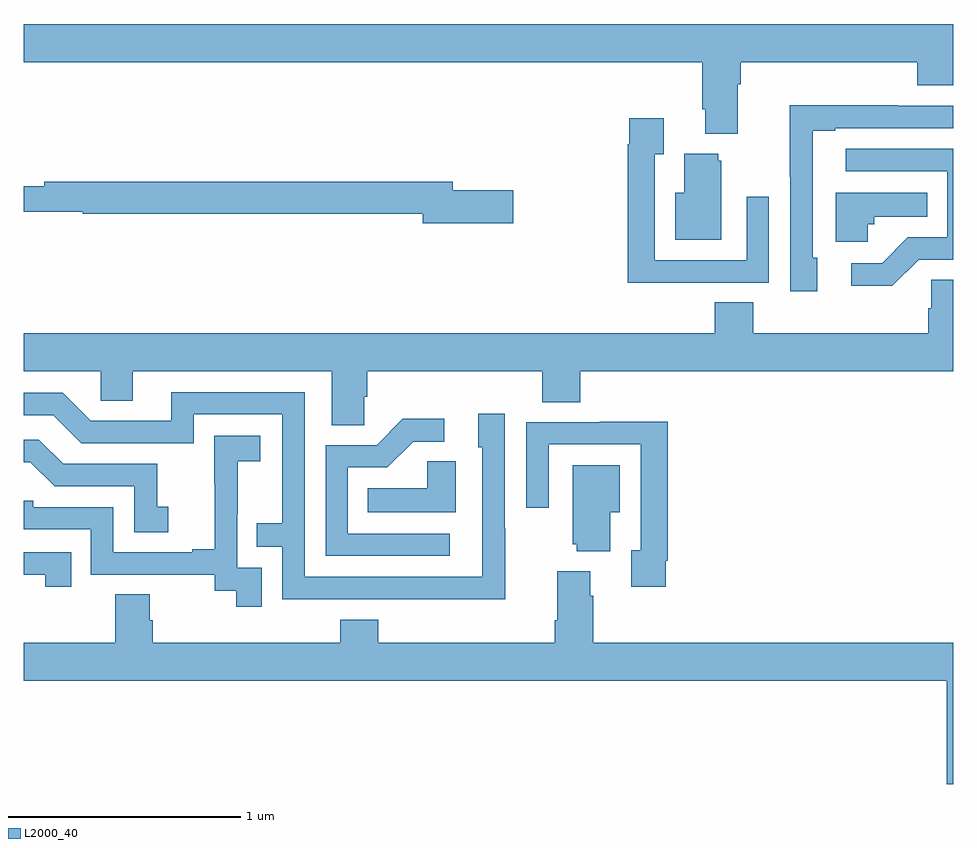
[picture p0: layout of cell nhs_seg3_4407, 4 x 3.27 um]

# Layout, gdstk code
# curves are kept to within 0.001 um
import gdstk
lib = gdstk.Library(unit=1e-6, precision=1e-09)
def P(c, l, *ps):  # polygons
    for p in ps: c.add(gdstk.Polygon(p, *l))
L2000_40 = (2000, 40)

nhs_seg3_4407 = lib.new_cell('nhs_seg3_4407')
P(nhs_seg3_4407, L2000_40, [(348.073,727.46),(348.086,727.46),(348.086,727.556),(348.845,727.556),(348.845,727.457),(349,727.457),(349,727.72),(345,727.72),(345,727.556),(347.921,727.556),(347.921,727.354),(347.933,727.354),(347.933,727.247),(348.073,727.247)],
  [(348.415,726.714),(348.396,726.714),(348.396,727.26),(348.493,727.26),(348.493,727.272),(349,727.272),(349,727.368),(348.761,727.368),(348.761,727.37),(348.298,727.37),(348.298,727.063),(348.3,727.063),(348.3,726.57),(348.415,726.57)],
  [(347.891,726.606),(348.207,726.606),(348.207,726.976),(348.111,726.976),(348.111,726.702),(347.715,726.702),(347.715,727.159),(347.755,727.159),(347.755,727.315),(347.607,727.315),(347.607,727.202),(347.599,727.202),(347.599,726.605),(347.891,726.605)],
  [(348.852,726.705),(349,726.705),(349,727.182),(348.537,727.182),(348.537,727.086),(348.975,727.086),(348.975,726.801),(348.806,726.801),(348.695,726.69),(348.561,726.69),(348.561,726.593),(348.739,726.593)],
  [(348.001,727.131),(347.99,727.131),(347.99,727.162),(347.843,727.162),(347.843,726.994),(347.804,726.994),(347.804,726.791),(348.001,726.791)],
  [(347.107,727.004),(346.846,727.004),(346.846,727.04),(345.088,727.04),(345.088,727.021),(345,727.021),(345,726.912),(345.254,726.912),(345.254,726.904),(346.718,726.904),(346.718,726.862),(347.107,726.862)],
  [(348.633,726.858),(348.66,726.858),(348.66,726.89),(348.89,726.89),(348.89,726.994),(348.494,726.994),(348.494,726.782),(348.633,726.782)],
  [(345,726.224),(345.33,726.224),(345.33,726.097),(345.469,726.097),(345.469,726.224),(346.325,726.224),(346.325,725.992),(346.464,725.992),(346.464,726.115),(346.478,726.115),(346.478,726.224),(347.231,726.224),(347.231,726.091),(347.396,726.091),(347.396,726.224),(349,726.224),(349,726.62),(348.906,726.62),(348.906,726.497),(348.893,726.497),(348.893,726.388),(348.14,726.388),(348.14,726.521),(347.975,726.521),(347.975,726.388),(345,726.388)],
  [(347.073,725.549),(347.07,725.549),(347.07,726.043),(346.955,726.043),(346.955,725.898),(346.974,725.898),(346.974,725.34),(346.209,725.34),(346.209,726.135),(345.635,726.135),(345.635,726.012),(345.288,726.012),(345.168,726.132),(345,726.132),(345,726.036),(345.126,726.036),(345.246,725.916),(345.732,725.916),(345.732,726.039),(346.113,726.039),(346.113,725.57),(346.003,725.57),(346.003,725.469),(346.113,725.469),(346.113,725.244),(347.073,725.243)],
  [(346.834,725.526),(346.395,725.526),(346.395,725.811),(346.564,725.811),(346.675,725.922),(346.81,725.922),(346.81,726.02),(346.631,726.02),(346.518,725.907),(346.299,725.907),(346.299,725.43),(346.834,725.43)],
  [(347.764,725.41),(347.771,725.41),(347.771,726.008),(347.479,726.008),(347.479,726.006),(347.163,726.006),(347.163,725.637),(347.259,725.637),(347.259,725.91),(347.655,725.91),(347.655,725.454),(347.615,725.454),(347.615,725.298),(347.764,725.298)],
  [(346.023,725.379),(345.918,725.379),(345.918,725.609),(345.92,725.609),(345.92,725.837),(346.018,725.837),(346.018,725.947),(345.82,725.947),(345.82,725.741),(345.821,725.741),(345.821,725.458),(345.725,725.458),(345.725,725.445),(345.384,725.445),(345.384,725.64),(345.039,725.64),(345.039,725.667),(345,725.667),(345,725.544),(345.288,725.544),(345.288,725.349),(345.822,725.349),(345.822,725.281),(345.915,725.281),(345.915,725.211),(346.023,725.211)],
  [(345.622,725.641),(345.573,725.641),(345.573,725.826),(345.169,725.826),(345.064,725.931),(345,725.931),(345,725.834),(345.028,725.834),(345.132,725.73),(345.474,725.73),(345.474,725.532),(345.622,725.532)],
  [(346.858,725.837),(346.737,725.837),(346.737,725.722),(346.48,725.722),(346.48,725.618),(346.858,725.618)],
  [(347.524,725.618),(347.566,725.618),(347.566,725.821),(347.363,725.821),(347.363,725.481),(347.381,725.481),(347.381,725.45),(347.524,725.45)],
  [(345.203,725.445),(345,725.445),(345,725.349),(345.092,725.349),(345.092,725.298),(345.203,725.298)],
  [(349,725.056),(347.45,725.056),(347.45,725.258),(347.437,725.258),(347.437,725.365),(347.297,725.365),(347.297,725.152),(347.285,725.152),(347.285,725.056),(346.526,725.056),(346.526,725.155),(346.361,725.155),(346.361,725.056),(345.554,725.056),(345.554,725.154),(345.541,725.154),(345.541,725.264),(345.394,725.264),(345.394,725.056),(345,725.056),(345,724.892),(348.972,724.892),(348.972,724.448),(349,724.448)])

lib.write_gds('nhs_seg3_4407.gds')
